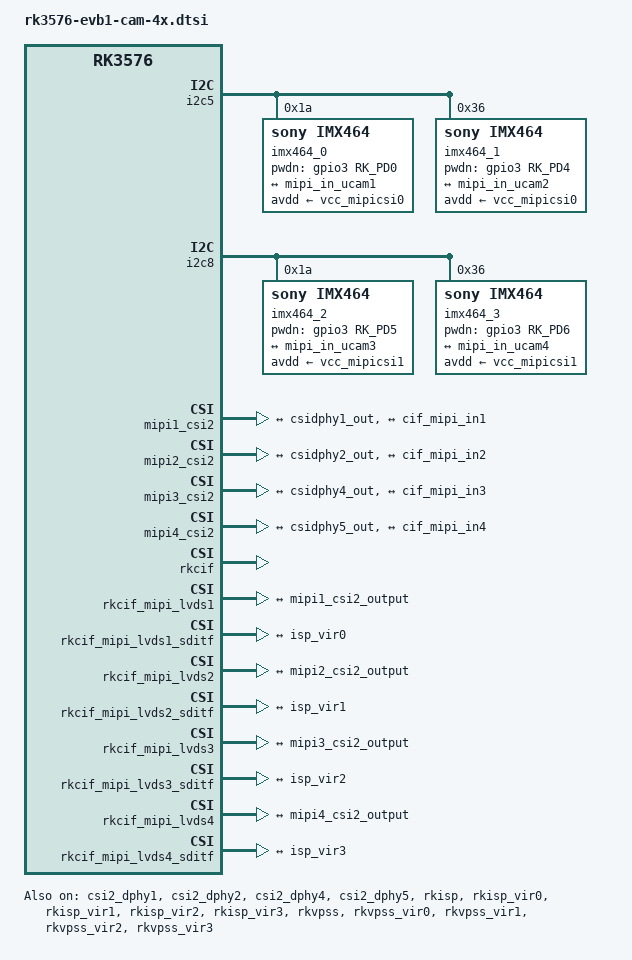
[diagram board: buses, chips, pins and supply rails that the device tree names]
// SPDX-License-Identifier: (GPL-2.0+ OR MIT)
/*
 * Copyright (c) 2024 Rockchip Electronics Co., Ltd.
 *
 */

&csi2_dphy1 {
	status = "okay";

	ports {
		#address-cells = <1>;
		#size-cells = <0>;
		port@0 {
			reg = <0>;
			#address-cells = <1>;
			#size-cells = <0>;

			mipi_in_ucam1: endpoint@1 {
				reg = <1>;
				remote-endpoint = <&imx464_out0>;
				data-lanes = <1 2>;
			};
		};
		port@1 {
			reg = <1>;
			#address-cells = <1>;
			#size-cells = <0>;

			csidphy1_out: endpoint@0 {
				reg = <0>;
				remote-endpoint = <&mipi1_csi2_input>;
			};
		};
	};
};

&csi2_dphy2 {
	status = "okay";

	ports {
		#address-cells = <1>;
		#size-cells = <0>;
		port@0 {
			reg = <0>;
			#address-cells = <1>;
			#size-cells = <0>;

			mipi_in_ucam2: endpoint@1 {
				reg = <1>;
				remote-endpoint = <&imx464_out1>;
				data-lanes = <1 2>;
			};
		};
		port@1 {
			reg = <1>;
			#address-cells = <1>;
			#size-cells = <0>;

			csidphy2_out: endpoint@0 {
				reg = <0>;
				remote-endpoint = <&mipi2_csi2_input>;
			};
		};
	};
};

&csi2_dphy4 {
	status = "okay";

	ports {
		#address-cells = <1>;
		#size-cells = <0>;
		port@0 {
			reg = <0>;
			#address-cells = <1>;
			#size-cells = <0>;

			mipi_in_ucam3: endpoint@1 {
				reg = <1>;
				remote-endpoint = <&imx464_out2>;
				data-lanes = <1 2>;
			};
		};
		port@1 {
			reg = <1>;
			#address-cells = <1>;
			#size-cells = <0>;

			csidphy4_out: endpoint@0 {
				reg = <0>;
				remote-endpoint = <&mipi3_csi2_input>;
			};
		};
	};
};

&csi2_dphy5 {
	status = "okay";

	ports {
		#address-cells = <1>;
		#size-cells = <0>;
		port@0 {
			reg = <0>;
			#address-cells = <1>;
			#size-cells = <0>;

			mipi_in_ucam4: endpoint@1 {
				reg = <1>;
				remote-endpoint = <&imx464_out3>;
				data-lanes = <1 2>;
			};
		};
		port@1 {
			reg = <1>;
			#address-cells = <1>;
			#size-cells = <0>;

			csidphy5_out: endpoint@0 {
				reg = <0>;
				remote-endpoint = <&mipi4_csi2_input>;
			};
		};
	};
};

&i2c5 {
	status = "okay";
	pinctrl-0 = <&i2c5m3_xfer>;

	/* module 77/79 0x1a 78/80 0x36 */
	imx464_0: imx464-0@1a {
		compatible = "sony,imx464";
		status = "okay";
		reg = <0x1a>;
		clocks = <&cru CLK_MIPI_CAMERAOUT_M1>;
		clock-names = "xvclk";
		power-domains = <&power RK3576_PD_VI>;
		pinctrl-names = "default";
		pinctrl-0 = <&cam_clk1m0_clk1>;
		avdd-supply = <&vcc_mipicsi0>;
		pwdn-gpios = <&gpio3 RK_PD0 GPIO_ACTIVE_HIGH>;
		rockchip,camera-module-index = <1>;
		rockchip,camera-module-facing = "back";
		rockchip,camera-module-name = "CMK-OT1980-PX1";
		rockchip,camera-module-lens-name = "SHG102";
		port {
			imx464_out0: endpoint {
				remote-endpoint = <&mipi_in_ucam1>;
				data-lanes = <1 2>;
			};
		};
	};

	imx464_1: imx464-1@36 {
		compatible = "sony,imx464";
		status = "okay";
		reg = <0x36>;
		clocks = <&cru CLK_MIPI_CAMERAOUT_M1>;
		clock-names = "xvclk";
		power-domains = <&power RK3576_PD_VI>;
		pinctrl-names = "default";
		avdd-supply = <&vcc_mipicsi0>;
		pwdn-gpios = <&gpio3 RK_PD4 GPIO_ACTIVE_HIGH>;/* hw not connect as default */
		rockchip,camera-module-index = <0>;
		rockchip,camera-module-facing = "back";
		rockchip,camera-module-name = "CMK-OT1980-PX1";
		rockchip,camera-module-lens-name = "SHG102";
		port {
			imx464_out1: endpoint {
				remote-endpoint = <&mipi_in_ucam2>;
				data-lanes = <1 2>;
			};
		};
	};
};

&i2c8 {
	status = "okay";
	pinctrl-0 = <&i2c8m2_xfer>;

	/* 77/79 0x1a 78/80 0x36 */
	imx464_2: imx464-2@1a {
		compatible = "sony,imx464";
		status = "okay";
		reg = <0x1a>;
		clocks = <&cru CLK_MIPI_CAMERAOUT_M2>;
		clock-names = "xvclk";
		power-domains = <&power RK3576_PD_VI>;
		pinctrl-names = "default";
		pinctrl-0 = <&cam_clk2m0_clk2>;
		avdd-supply = <&vcc_mipicsi1>;
		pwdn-gpios = <&gpio3 RK_PD5 GPIO_ACTIVE_HIGH>;
		rockchip,camera-module-index = <2>;
		rockchip,camera-module-facing = "back";
		rockchip,camera-module-name = "CMK-OT1980-PX1";
		rockchip,camera-module-lens-name = "SHG102";
		port {
			imx464_out2: endpoint {
				remote-endpoint = <&mipi_in_ucam3>;
				data-lanes = <1 2>;
			};
		};
	};

	imx464_3: imx464-3@36 {
		compatible = "sony,imx464";
		status = "okay";
		reg = <0x36>;
		clocks = <&cru CLK_MIPI_CAMERAOUT_M2>;
		clock-names = "xvclk";
		power-domains = <&power RK3576_PD_VI>;
		avdd-supply = <&vcc_mipicsi1>;
		pwdn-gpios = <&gpio3 RK_PD6 GPIO_ACTIVE_HIGH>;
		rockchip,camera-module-index = <3>;
		rockchip,camera-module-facing = "back";
		rockchip,camera-module-name = "CMK-OT1980-PX1";
		rockchip,camera-module-lens-name = "SHG102";
		port {
			imx464_out3: endpoint {
				remote-endpoint = <&mipi_in_ucam4>;
				data-lanes = <1 2>;
			};
		};
	};
};

&mipi1_csi2 {
	status = "okay";

	ports {
		#address-cells = <1>;
		#size-cells = <0>;

		port@0 {
			reg = <0>;
			#address-cells = <1>;
			#size-cells = <0>;

			mipi1_csi2_input: endpoint@1 {
				reg = <1>;
				remote-endpoint = <&csidphy1_out>;
			};
		};

		port@1 {
			reg = <1>;
			#address-cells = <1>;
			#size-cells = <0>;

			mipi1_csi2_output: endpoint@0 {
				reg = <0>;
				remote-endpoint = <&cif_mipi_in1>;
			};
		};
	};
};

&mipi2_csi2 {
	status = "okay";

	ports {
		#address-cells = <1>;
		#size-cells = <0>;

		port@0 {
			reg = <0>;
			#address-cells = <1>;
			#size-cells = <0>;

			mipi2_csi2_input: endpoint@1 {
				reg = <1>;
				remote-endpoint = <&csidphy2_out>;
			};
		};

		port@1 {
			reg = <1>;
			#address-cells = <1>;
			#size-cells = <0>;

			mipi2_csi2_output: endpoint@0 {
				reg = <0>;
				remote-endpoint = <&cif_mipi_in2>;
			};
		};
	};
};

&mipi3_csi2 {
	status = "okay";

	ports {
		#address-cells = <1>;
		#size-cells = <0>;

		port@0 {
			reg = <0>;
			#address-cells = <1>;
			#size-cells = <0>;

			mipi3_csi2_input: endpoint@1 {
				reg = <1>;
				remote-endpoint = <&csidphy4_out>;
			};
		};

		port@1 {
			reg = <1>;
			#address-cells = <1>;
			#size-cells = <0>;

			mipi3_csi2_output: endpoint@0 {
				reg = <0>;
				remote-endpoint = <&cif_mipi_in3>;
			};
		};
	};
};

&mipi4_csi2 {
	status = "okay";

	ports {
		#address-cells = <1>;
		#size-cells = <0>;

		port@0 {
			reg = <0>;
			#address-cells = <1>;
			#size-cells = <0>;

			mipi4_csi2_input: endpoint@1 {
				reg = <1>;
				remote-endpoint = <&csidphy5_out>;
			};
		};

		port@1 {
			reg = <1>;
			#address-cells = <1>;
			#size-cells = <0>;

			mipi4_csi2_output: endpoint@0 {
				reg = <0>;
				remote-endpoint = <&cif_mipi_in4>;
			};
		};
	};
};

&rkcif {
	status = "okay";
};

&rkcif_mipi_lvds1 {
	status = "okay";

	port {
		cif_mipi_in1: endpoint {
			remote-endpoint = <&mipi1_csi2_output>;
		};
	};
};

&rkcif_mipi_lvds1_sditf {
	status = "okay";

	port {
		mipi1_lvds_sditf: endpoint {
			remote-endpoint = <&isp_vir0>;
		};
	};
};

&rkcif_mipi_lvds2 {
	status = "okay";

	port {
		cif_mipi_in2: endpoint {
			remote-endpoint = <&mipi2_csi2_output>;
		};
	};
};

&rkcif_mipi_lvds2_sditf {
	status = "okay";

	port {
		mipi2_lvds_sditf: endpoint {
			remote-endpoint = <&isp_vir1>;
		};
	};
};

&rkcif_mipi_lvds3 {
	status = "okay";

	port {
		cif_mipi_in3: endpoint {
			remote-endpoint = <&mipi3_csi2_output>;
		};
	};
};

&rkcif_mipi_lvds3_sditf {
	status = "okay";

	port {
		mipi3_lvds_sditf: endpoint {
			remote-endpoint = <&isp_vir2>;
		};
	};
};

&rkcif_mipi_lvds4 {
	status = "okay";

	port {
		cif_mipi_in4: endpoint {
			remote-endpoint = <&mipi4_csi2_output>;
		};
	};
};

&rkcif_mipi_lvds4_sditf {
	status = "okay";

	port {
		mipi4_lvds_sditf: endpoint {
			remote-endpoint = <&isp_vir3>;
		};
	};
};

&rkcif_mmu {
	status = "okay";
};

&rkisp {
	status = "okay";
};

&rkisp_mmu {
	status = "okay";
};

&rkisp_vir0 {
	status = "okay";

	port {
		#address-cells = <1>;
		#size-cells = <0>;

		isp_vir0: endpoint@0 {
			reg = <0>;
			remote-endpoint = <&mipi1_lvds_sditf>;
		};
	};
};

&rkisp_vir1 {
	status = "okay";

	port {
		#address-cells = <1>;
		#size-cells = <0>;

		isp_vir1: endpoint@0 {
			reg = <0>;
			remote-endpoint = <&mipi2_lvds_sditf>;
		};
	};
};

&rkisp_vir2 {
	status = "okay";

	port {
		#address-cells = <1>;
		#size-cells = <0>;

		isp_vir2: endpoint@0 {
			reg = <0>;
			remote-endpoint = <&mipi3_lvds_sditf>;
		};
	};
};

&rkisp_vir3 {
	status = "okay";

	port {
		#address-cells = <1>;
		#size-cells = <0>;

		isp_vir3: endpoint@0 {
			reg = <0>;
			remote-endpoint = <&mipi4_lvds_sditf>;
		};
	};
};

&rkvpss {
	status = "okay";
};

&rkvpss_mmu {
	status = "okay";
};

&rkvpss_vir0 {
	status = "okay";
};

&rkvpss_vir1 {
	status = "okay";
};

&rkvpss_vir2 {
	status = "okay";
};

&rkvpss_vir3 {
	status = "okay";
};
